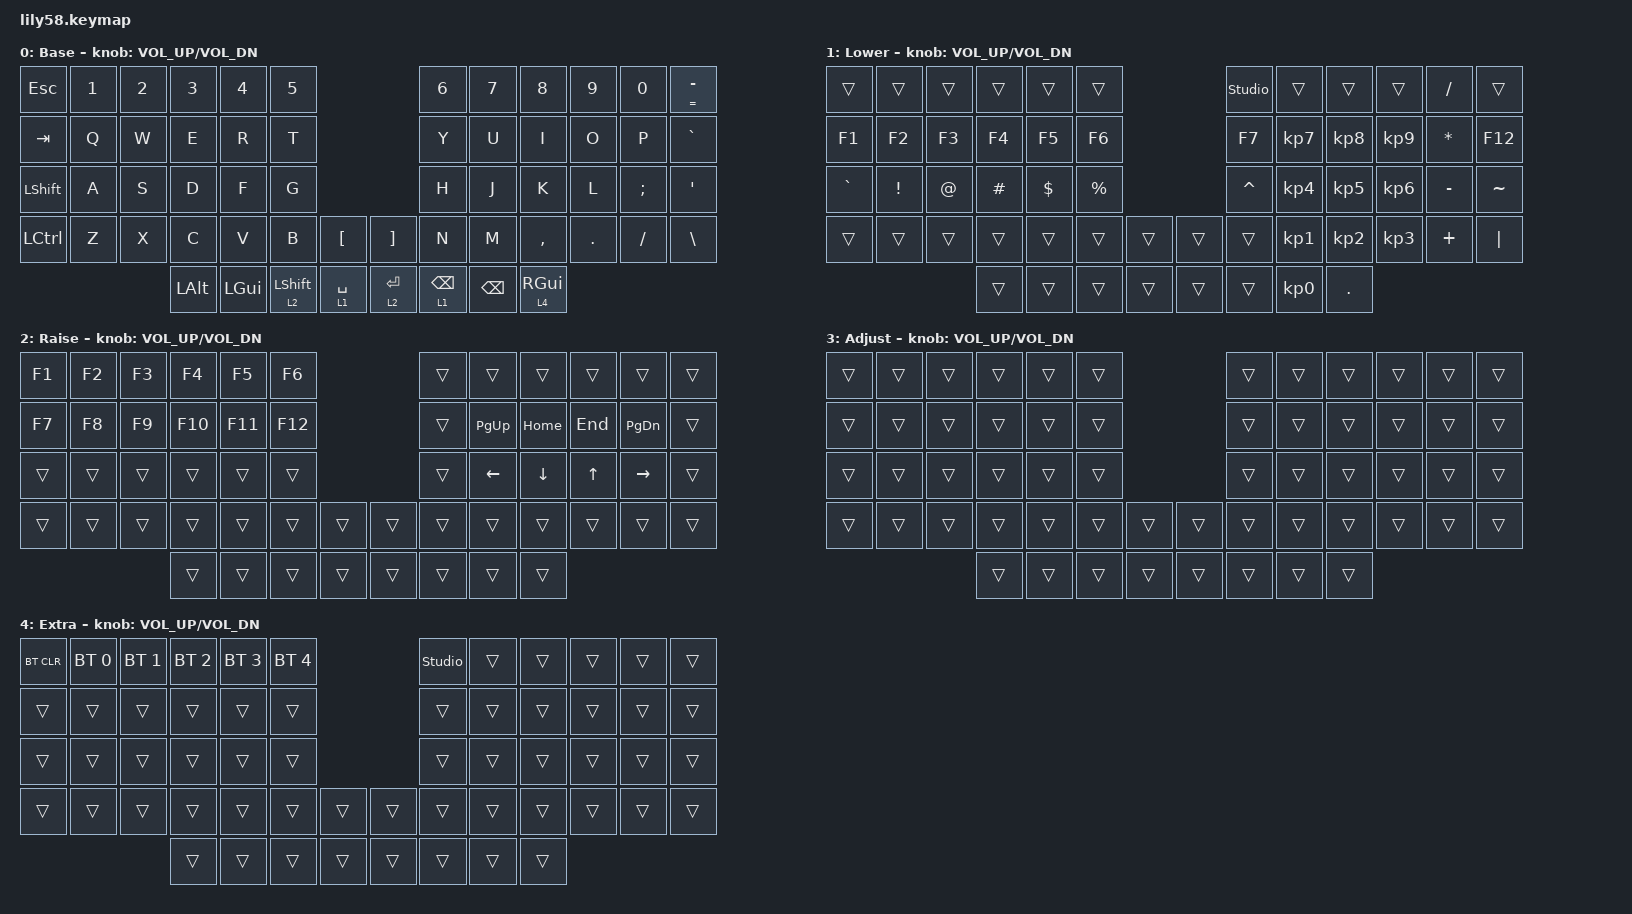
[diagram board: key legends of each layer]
/*
 * Copyright (c) 2020 The ZMK Contributors
 *
 * SPDX-License-Identifier: MIT
 */

#include <behaviors.dtsi>
#include <dt-bindings/zmk/bt.h>
#include <dt-bindings/zmk/keys.h>

#define default_layer 0
#define lower_layer 1
#define raise_layer 2
#define adjust_layer 3
#define extra_layer 4

/ {
    keymap {
        compatible = "zmk,keymap";

        default_layer {
            display-name = "Base";

            // ------------------------------------------------------------------------------------------------------------
            // |  ESC  |  1  |  2  |  3   |  4   |  5   |                   |  6   |  7    |  8    |  9   |   0   |   `   |
            // |  TAB  |  Q  |  W  |  E   |  R   |  T   |                   |  Y   |  U    |  I    |  O   |   P   |   -   |
            // |  CTRL |  A  |  S  |  D   |  F   |  G   |                   |  H   |  J    |  K    |  L   |   ;   |   '   |
            // | SHIFT |  Z  |  X  |  C   |  V   |  B   |   "["  |  |  "]"  |  N   |  M    |  ,    |  .   |   /   | SHIFT |
            //                     | ALT  | GUI  | LOWER|  SPACE |  | ENTER | RAISE| BSPC  | GUI   |

            bindings = <
&kp ESC           &kp N1  &kp N2  &kp N3    &kp N4    &kp N5                                        &kp N6           &kp N7    &kp N8           &kp N9   &kp N0    &mt EQUAL MINUS
&kp TAB           &kp Q   &kp W   &kp E     &kp R     &kp T                                         &kp Y            &kp U     &kp I            &kp O    &kp P     &kp GRAVE
&kp LEFT_SHIFT    &kp A   &kp S   &kp D     &kp F     &kp G                                         &kp H            &kp J     &kp K            &kp L    &kp SEMI  &kp SQT
&kp LEFT_CONTROL  &kp Z   &kp X   &kp C     &kp V     &kp B             &kp LBKT       &kp RBKT     &kp N            &kp M     &kp COMMA        &kp DOT  &kp FSLH  &kp BSLH
                                  &kp LALT  &kp LGUI  &lt 2 LEFT_SHIFT  &lt 1 SPACE    &lt 2 ENTER  &lt 1 BACKSPACE  &kp BSPC  &lt 4 RIGHT_GUI
            >;

            sensor-bindings = <&inc_dec_kp C_VOL_UP C_VOL_DN>;
        };

        lower_layer {
            display-name = "Lower";

            // ------------------------------------------------------------------------------------------------------------
            // | BTCLR | BT1 | BT2 |  BT3 |  BT4 |  BT5 |                   |      |       |       |      |       |       |
            // |  F1   |  F2 |  F3 |  F4  |  F5  |  F6  |                   |  F7  |  F8   |  F9   |  F10 |  F11  |  F12  |
            // |   `   |  !  |  @  |  #   |  $   |  %   |                   |  ^   |  &    |  *    |  (   |   )   |   ~   |
            // |       |     |     |      |      |      |        |  |       |      |  _    |  +    |  {   |   }   |  "|"  |
            //                     |      |      |      |        |  |       |      |       |       |

            bindings = <
&trans     &trans    &trans  &trans    &trans      &trans                       &studio_unlock  &trans           &trans           &trans           &kp FSLH   &trans
&kp F1     &kp F2    &kp F3  &kp F4    &kp F5      &kp F6                       &kp F7          &kp KP_NUMBER_7  &kp KP_NUMBER_8  &kp KP_NUMBER_9  &kp STAR   &kp F12
&kp GRAVE  &kp EXCL  &kp AT  &kp HASH  &kp DOLLAR  &kp PRCNT                    &kp CARET       &kp KP_NUMBER_4  &kp KP_NUMBER_5  &kp KP_NUMBER_6  &kp MINUS  &kp TILDE
&trans     &trans    &trans  &trans    &trans      &trans     &trans    &trans  &trans          &kp KP_NUMBER_1  &kp KP_NUMBER_2  &kp KP_NUMBER_3  &kp PLUS   &kp PIPE
                             &trans    &trans      &trans     &trans    &trans  &trans          &kp KP_NUMBER_0  &kp DOT
            >;

            sensor-bindings = <&inc_dec_kp C_VOL_UP C_VOL_DN>;
        };

        raise_layer {
            display-name = "Raise";

            // ------------------------------------------------------------------------------------------------------------
            // |       |     |     |      |      |      |                   |      |       |       |      |       |       |
            // |   `   |  1  |  2  |  3   |  4   |  5   |                   |  6   |   7   |   8   |  9   |   0   |       |
            // |   F1  |  F2 |  F3 |  F4  |  F5  |  F6  |                   |      |   <-  |   v   |  ^   |  ->   |       |
            // |   F7  |  F8 |  F9 |  F10 |  F11 |  F12 |        |  |       |  +   |   -   |   =   |  [   |   ]   |   \   |
            //                     |      |      |      |        |  |       |      |       |       |

            bindings = <
&kp F1  &kp F2  &kp F3  &kp F4   &kp F5   &kp F6                     &trans  &trans     &trans    &trans   &trans     &trans
&kp F7  &kp F8  &kp F9  &kp F10  &kp F11  &kp F12                    &trans  &kp PG_UP  &kp HOME  &kp END  &kp PG_DN  &trans
&trans  &trans  &trans  &trans   &trans   &trans                     &trans  &kp LEFT   &kp DOWN  &kp UP   &kp RIGHT  &trans
&trans  &trans  &trans  &trans   &trans   &trans   &trans    &trans  &trans  &trans     &trans    &trans   &trans     &trans
                        &trans   &trans   &trans   &trans    &trans  &trans  &trans     &trans
            >;

            sensor-bindings = <&inc_dec_kp C_VOL_UP C_VOL_DN>;
        };

        adjust_layer {
            display-name = "Adjust";

            // ------------------------------------------------------------------------------------------------------------
            // |       |     |     |      |      |      |                   |      |       |       |      |       |       |
            // |   `   |  1  |  2  |  3   |  4   |  5   |                   |  6   |   7   |   8   |  9   |   0   |       |
            // |   F1  |  F2 |  F3 |  F4  |  F5  |  F6  |                   |      |   <-  |   v   |  ^   |  ->   |       |
            // |   F7  |  F8 |  F9 |  F10 |  F11 |  F12 |        |  |       |  +   |   -   |   =   |  [   |   ]   |   \   |
            //                     |      |      |      |        |  |       |      |       |       |

            bindings = <
&trans  &trans  &trans  &trans  &trans  &trans                    &trans  &trans  &trans  &trans  &trans  &trans
&trans  &trans  &trans  &trans  &trans  &trans                    &trans  &trans  &trans  &trans  &trans  &trans
&trans  &trans  &trans  &trans  &trans  &trans                    &trans  &trans  &trans  &trans  &trans  &trans
&trans  &trans  &trans  &trans  &trans  &trans  &trans    &trans  &trans  &trans  &trans  &trans  &trans  &trans
                        &trans  &trans  &trans  &trans    &trans  &trans  &trans  &trans
            >;

            sensor-bindings = <&inc_dec_kp C_VOL_UP C_VOL_DN>;
        };

        extra_layer {
            display-name = "Extra";

            // ------------------------------------------------------------------------------------------------------------
            // |       |     |     |      |      |      |                   |      |       |       |      |       |       |
            // |   `   |  1  |  2  |  3   |  4   |  5   |                   |  6   |   7   |   8   |  9   |   0   |       |
            // |   F1  |  F2 |  F3 |  F4  |  F5  |  F6  |                   |      |   <-  |   v   |  ^   |  ->   |       |
            // |   F7  |  F8 |  F9 |  F10 |  F11 |  F12 |        |  |       |  +   |   -   |   =   |  [   |   ]   |   \   |
            //                     |      |      |      |        |  |       |      |       |       |

            bindings = <
&bt BT_CLR  &bt BT_SEL 0  &bt BT_SEL 1  &bt BT_SEL 2  &bt BT_SEL 3  &bt BT_SEL 4                    &studio_unlock  &trans  &trans  &trans  &trans  &trans
&trans      &trans        &trans        &trans        &trans        &trans                          &trans          &trans  &trans  &trans  &trans  &trans
&trans      &trans        &trans        &trans        &trans        &trans                          &trans          &trans  &trans  &trans  &trans  &trans
&trans      &trans        &trans        &trans        &trans        &trans        &trans    &trans  &trans          &trans  &trans  &trans  &trans  &trans
                                        &trans        &trans        &trans        &trans    &trans  &trans          &trans  &trans
            >;

            sensor-bindings = <&inc_dec_kp C_VOL_UP C_VOL_DN>;
        };
    };
};
